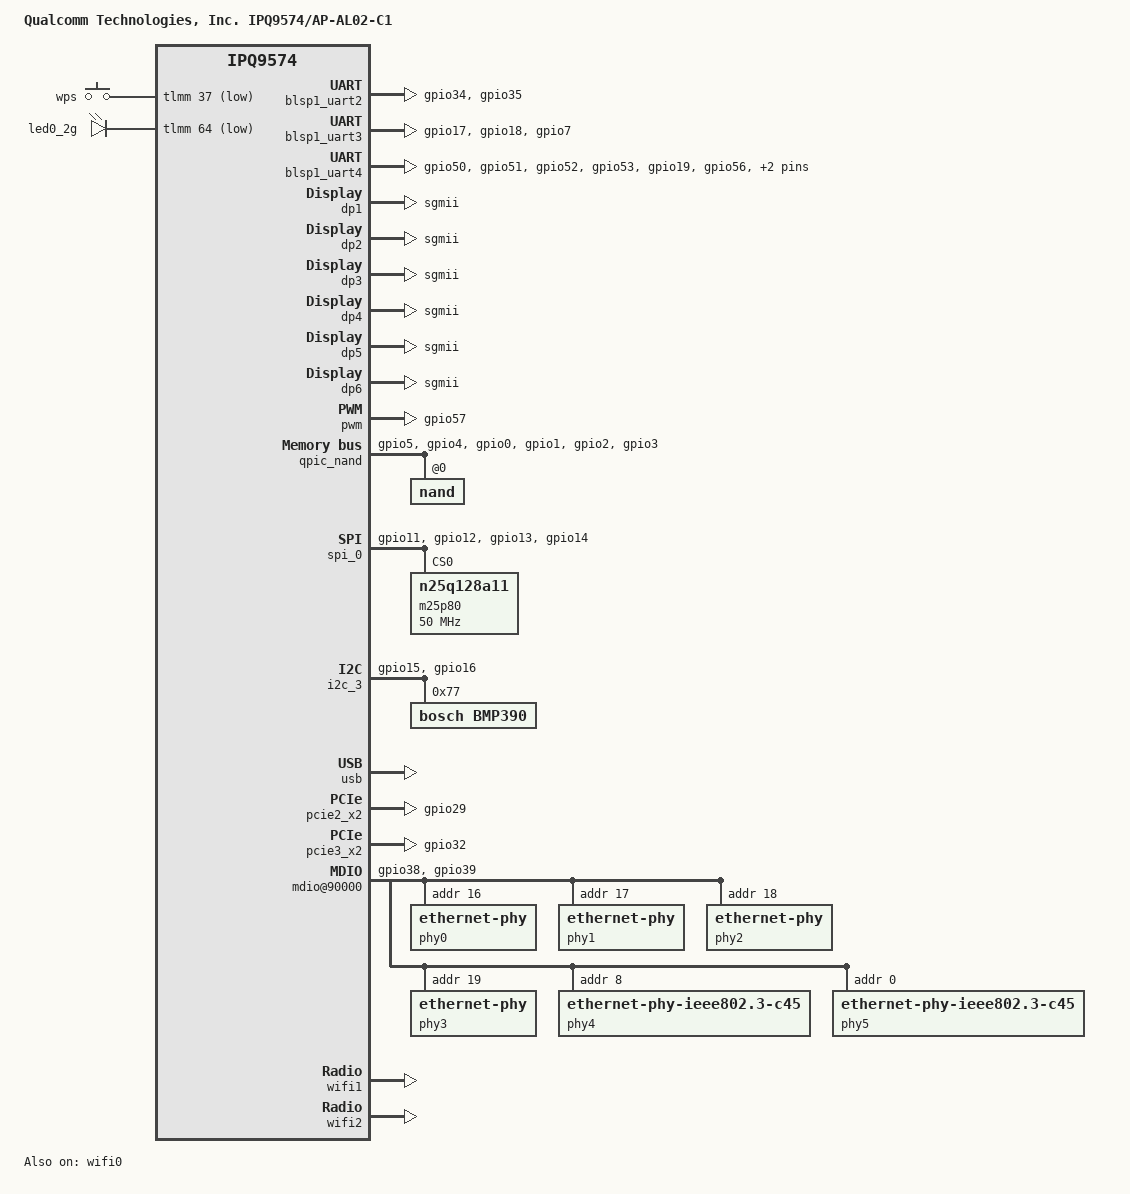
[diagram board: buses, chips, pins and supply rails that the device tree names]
// SPDX-License-Identifier: (GPL-2.0+ OR BSD-3-Clause)
/*
 * IPQ9574 AL02-C1 board device tree source
 *
 * Copyright (c) 2020-2021 The Linux Foundation. All rights reserved.
 * Copyright (c) 2022 Qualcomm Innovation Center, Inc. All rights reserved.
 */

/dts-v1/;

#include "ipq9574.dtsi"
#ifdef __IPQ_MEM_PROFILE_512_MB__
#include "ipq9574-512MB-memory.dtsi"
#else
#include "ipq9574-default-memory.dtsi"
#endif
#include "ipq9574-cpu.dtsi"

/ {
	#address-cells = <0x2>;
	#size-cells = <0x2>;
	model = "Qualcomm Technologies, Inc. IPQ9574/AP-AL02-C1";
	compatible = "qcom,ipq9574-ap-al02-c1", "qcom,ipq9574-al02", "qcom,ipq9574";
	interrupt-parent = <&intc>;

	aliases {
		serial0 = &blsp1_uart2;
		serial1 = &blsp1_uart4;
		serial2 = &blsp1_uart3;
		ethernet0 = "/soc/dp1";
		ethernet1 = "/soc/dp2";
		ethernet2 = "/soc/dp3";
		ethernet3 = "/soc/dp4";
		ethernet4 = "/soc/dp5";
		ethernet5 = "/soc/dp6";
	};

	chosen {
		stdout-path = "serial0";
	};

	soc {
		pinctrl@1000000 {
			pci0_pin: pci0-pinmux {
				pins = "gpio23";
				function = "gpio";
				drive-strength = <8>;
				bias-pull-up;
				output-low;
			};

			pci1_pin: pci1-pinmux {
				pins = "gpio26";
				function = "gpio";
				drive-strength = <8>;
				bias-pull-down;
				output-low;
			};

			pci2_pin: pci2-pinmux {
				pins = "gpio29";
				function = "gpio";
				drive-strength = <8>;
				bias-pull-down;
				output-low;
			};

			pci3_pin: pci3-pinmux {
				pins = "gpio32";
				function = "gpio";
				drive-strength = <8>;
				bias-pull-up;
				output-low;
			};

			pcie3_sdx_pins: pcie3_sdx_pinmux {
				ap2mdm_err_ftl {
					pins = "gpio44";
					function = "gpio";
					drive-strength = <8>;
					bias-pull-down;
				};

				mdm2ap_e911_status {
					pins = "gpio43";
					drive-strength = <8>;
					bias-pull-down;
				};

			};

			pcie3_wake_pins: pcie3_wake_gpio {
				pins = "gpio33";
				function = "pcie3_wake";
				drive-strength = <8>;
				bias-pull-up;
			};

			blsp1_uart2_pins: blsp1_uart2_pinmux {
				pins = "gpio34", "gpio35";
				function = "blsp2_uart";
				drive-strength = <8>;
				bias-disable;
			};

			gps_pins: gps_pins {
				blsp3_uart_pinmux {
					pins = "gpio17", "gpio18";
					function = "blsp3_uart";
					drive-strength = <8>;
					bias-disable;
				};

				gps_on_off {
					pins = "gpio7";
					function = "gpio";
					drive-strength = <8>;
					bias-pull-down;
				};
			};

			leds_pins: leds_pinmux {
				led0_2g {
					pins = "gpio64";
					function = "gpio";
					drive-strength = <8>;
					bias-pull-up;
				};
			};

			pwm_pins: pwm_pinmux {
			       mux_1 {
					pins = "gpio57";
					function = "pwm03";
					drive-strength = <8>;
				};
			};

			qspi_nand_pins: qspi_nand_pins {
				qspi_clock {
					pins = "gpio5";
					function = "qspi_clk";
					drive-strength = <8>;
					bias-disable;
				};

				qspi_cs {
					pins = "gpio4";
					function = "qspi_cs";
					drive-strength = <8>;
					bias-disable;
				};

				qspi_data {
					pins = "gpio0", "gpio1", "gpio2", "gpio3";
					function = "qspi_data";
					drive-strength = <8>;
					bias-disable;
				};
			};

			spi_0_pins: spi-0-pins {
				pins = "gpio11", "gpio12", "gpio13", "gpio14";
				function = "blsp0_spi";
				drive-strength = <8>;
				bias-disable;
			};

			spi_1_pins: spi-1-pins {
				pins = "gpio61", "gpio62", "gpio63", "gpio64";
				function = "blsp1_spi";
				drive-strength = <8>;
				bias-pull-down;
			};

			i2c_3_pins: i2c-3-pins {
				pins = "gpio15", "gpio16";
				function = "blsp3_i2c";
				drive-strength = <8>;
				bias-disable;
			};

			mdio_pins: mdio_pinmux {
				mux_0 {
					pins = "gpio38";
					function = "mdc";
					drive-strength = <8>;
					bias-disable;
				};
				mux_1 {
					pins = "gpio39";
					function = "mdio";
					drive-strength = <8>;
					bias-pull-up;
				};
			};

			audio_pins_pri: audio_pinmux_pri {
				mux_1 {
					pins = "gpio41";
					function = "audio_pri";
					drive-strength = <8>;
					bias-pull-down;
				};

				mux_2 {
					pins = "gpio40";
					function = "audio_pri";
					drive-strength = <8>;
					bias-pull-down;
				};

				mux_3 {
					pins = "gpio42";
					function = "audio_pri";
					drive-strength = <8>;
					bias-pull-down;
				};

				mux_4 {
					pins = "gpio43";
					function = "audio_pri";
					drive-strength = <16>;
					bias-pull-down;
				};
			};

			audio_pins_sec: audio_pinmux_sec {
				mux_1 {
					pins = "gpio47";
					function = "audio_sec";
					drive-strength = <16>;
					bias-pull-down;
				};

				mux_2 {
					pins = "gpio46";
					function = "audio_sec";
					drive-strength = <16>;
					bias-pull-down;
				};

				mux_3 {
					pins = "gpio45";
					function = "audio_sec";
					drive-strength = <16>;
					bias-pull-down;
				};

				mux_4 {
					pins = "gpio44";
					function = "audio_sec";
					drive-strength = <16>;
					bias-pull-down;
				};
			};

			button_pins: button_pins {
				wps_button {
					pins = "gpio37";
					function = "gpio";
					drive-strength = <8>;
					bias-pull-up;
				};
			};

			QCC710_pins: QCC710_pins {
				blsp1_uart4_pinmux {
					pins = "gpio50", "gpio51", "gpio52", "gpio53";
					function = "blsp4_uart";
					drive-strength = <8>;
					bias-disable;
				};
				QCC710_reset {
					pins = "gpio19";
					function = "gpio";
					drive-strength = <8>;
					bias-pull-down;
				};
			};

			pta_QCC710: pta_QCC710 {
				pta1_0 {
					pins = "gpio56";
					function = "pta1_0";
					drive-strength = <8>;
					bias-disable;
				};
				pta1_1 {
					pins = "gpio54";
					function = "pta1_1";
					drive-strength = <8>;
					bias-disable;
				};
				pta1_2 {
					pins = "gpio55";
					function = "pta1_2";
					drive-strength = <8>;
					bias-disable;
				};
			};
		};

		blsp1_uart2: serial@78b1000 {
			pinctrl-0 = <&blsp1_uart2_pins>;
			pinctrl-names = "default";
			status = "ok";
		};

		blsp1_uart3: serial@78b2000 {
			pinctrl-0 = <&gps_pins>;
			pinctrl-names = "default";
			status = "ok";
		};

		blsp1_uart4: serial@78b3000 {
			pinctrl-0 = <&QCC710_pins &pta_QCC710>;
			pinctrl-names = "default";
			status = "ok";
		};

		pcm: pcm@0xA3C0000{
			pinctrl-0 = <&audio_pins_pri>;
			pinctrl-1 = <&audio_pins_sec>;
			pinctrl-names = "primary",
					 "secondary";
			status = "disabled";
		};

		gpio_keys {
			compatible = "gpio-keys";
			pinctrl-0 = <&button_pins>;
			pinctrl-names = "default";
			status = "ok";

			button@1 {
				label = "wps";
				linux,code = <KEY_WPS_BUTTON>;
				gpios = <&tlmm 37 GPIO_ACTIVE_LOW>;
				linux,input-type = <1>;
				debounce-interval = <60>;
			};
		};

		dp1 {
			device_type = "network";
			compatible = "qcom,nss-dp";
			qcom,id = <1>;
			reg = <0x3a001000 0x200>;
			qcom,mactype = <0>;
			qcom,link-poll = <1>;
			local-mac-address = [000000000000];
			qcom,phy-mdio-addr = <16>;
			phy-mode = "sgmii";
		};

		dp2 {
			device_type = "network";
			compatible = "qcom,nss-dp";
			qcom,id = <2>;
			reg = <0x3a001200 0x200>;
			qcom,mactype = <0>;
			qcom,link-poll = <1>;
			local-mac-address = [000000000000];
			qcom,phy-mdio-addr = <17>;
			phy-mode = "sgmii";
		};

		dp3 {
			device_type = "network";
			compatible = "qcom,nss-dp";
			qcom,id = <3>;
			reg = <0x3a001400 0x200>;
			qcom,mactype = <0>;
			qcom,link-poll = <1>;
			local-mac-address = [000000000000];
			qcom,phy-mdio-addr = <18>;
			phy-mode = "sgmii";
		};

		dp4 {
			device_type = "network";
			compatible = "qcom,nss-dp";
			qcom,id = <4>;
			reg = <0x3a001600 0x200>;
			qcom,mactype = <0>;
			qcom,link-poll = <1>;
			local-mac-address = [000000000000];
			qcom,phy-mdio-addr = <19>;
			phy-mode = "sgmii";
		};

		dp5 {
			device_type = "network";
			compatible = "qcom,nss-dp";
			qcom,id = <5>;
			reg = <0x3a510000 0x4000>;
			qcom,mactype = <1>;
			qcom,link-poll = <1>;
			local-mac-address = [000000000000];
			qcom,phy-mdio-addr = <8>;
			phy-mode = "sgmii";
		};

		dp6 {
			device_type = "network";
			compatible = "qcom,nss-dp";
			qcom,id = <6>;
			reg = <0x3a514000 0x4000>;
			qcom,mactype = <1>;
			qcom,link-poll = <1>;
			local-mac-address = [000000000000];
			qcom,phy-mdio-addr = <0>;
			phy-mode = "sgmii";
		};

		qpic_bam: dma@7984000 {
			status = "ok";
		};

		pwm: pwm {
			pwms = <&pwm>;
			pinctrl-0 = <&pwm_pins>;
			pinctrl-names = "default";
			used-pwm-indices = <1>, <0>, <0>, <0>;
			status = "ok";
		};

		qpic_nand: nand@79b0000 {
			status = "ok";
			pinctrl-0 = <&qspi_nand_pins>;
			pinctrl-names = "default";
			qcom,io_macro_max_clk = <320000000>;
			qcom,io_macro_clk_rates = <24000000 100000000 200000000 \
						  320000000>;
			nand@0 {
				reg = <0>;
				#address-cells = <1>;
				#size-cells = <1>;

				nand-ecc-strength = <4>;
				nand-ecc-step-size = <512>;
				nand-bus-width = <8>;
			};
		};

		spi_0: spi@78b5000 { /* BLSP1 QUP0 */
			status = "ok";
			pinctrl-0 = <&spi_0_pins>;
			pinctrl-names = "default";
			cs-select = <0>;

			m25p80@0 {
				compatible = "n25q128a11";
				#address-cells = <1>;
				#size-cells = <1>;
				reg = <0>;
				spi-max-frequency = <50000000>;
			};
		};

		spi_1: spi@78b6000 {
			status = "disabled";
			pinctrl-0 = <&spi_1_pins>;
			pinctrl-names = "default";
			cs-select = <0>;
		};

		eud: qcom,msm-eud {
			status = "ok";
		};

		i2c_3: i2c@78b8000 {
			status = "ok";
			pinctrl-0 = <&i2c_3_pins>;
			pinctrl-names = "default";

			bmp390@77 {
				compatible = "bosch,bmp390";
				reg = <0x77>;
			};

		};

		usb: usb3@8A00000 {
			status = "ok";
		};

		qusb_phy_0: qusb@7B000 {
			status = "ok";
		};

		ssphy_0: ssphy@7D000 {
			status = "ok";
		};

		leds {
			compatible = "gpio-leds";
			pinctrl-0 = <&leds_pins>;
			pinctrl-names = "default";
			led@64 {
				label = "led0_2g";
				gpios = <&tlmm 64 GPIO_ACTIVE_LOW>;
				linux,default-trigger = "led_2g";
				default-state = "off";
			};
		};

		pcie0_x1: pci@28000000 {
			pinctrl-0 = <&pci0_pin>;
			pinctrl-names = "default";
			perst-gpio = <&tlmm 23 1>;
			status = "disabled";
			pcie0_rp {
				reg = <0 0 0 0 0>;
			};
		};

		pcie0_phy: phy@84000 {
			status = "disabled";
		};

		pcie1_x1: pci@10000000 {
			pinctrl-0 = <&pci1_pin>;
			pinctrl-names = "default";
			perst-gpio = <&tlmm 26 1>;
			status = "disabled";
			pcie1_rp {
				reg = <0 0 0 0 0>;
			};
		};

		pcie1_phy: phy@fc000 {
			status = "disabled";
		};

		pcie2_x2: pci@20000000 {
			pinctrl-0 = <&pci2_pin>;
			pinctrl-names = "default";
			perst-gpio = <&tlmm 29 1>;
			status = "ok";
			pcie2_rp {
				reg = <0 0 0 0 0>;

				wifi@2 {
					reg = <0 0 0 0 0>;
					qrtr_instance_id = <0x20>;
#if defined(__CNSS2__)
					memory-region = <0>,<&mhi_region0>;
#else
					memory-region = <&qcn9000_pcie0>;
					qcom,board_id = <0xa4>;
#endif
					status = "ok";
				};
			};
		};

		pcie2_phy: phy@8c000 {
			status = "ok";
		};

		pcie3_x2: pci@18000000 {
			pinctrl-0 = <&pci3_pin>;
			pinctrl-names = "default";
			perst-gpio = <&tlmm 32 1>;
			status = "ok";
			pcie3_rp {
				reg = <0 0 0 0 0>;

				wifi@3 {
					reg = <0 0 0 0 0>;
					qrtr_instance_id = <0x21>;
#if defined(__CNSS2__)
					memory-region = <0>,<&mhi_region1>;
#else
					memory-region = <&qcn9000_pcie1>;
					qcom,board_id = <0xa3>;
#endif
					status = "ok";
				};
			};
		};

		pcie3_phy: phy@f4000 {
			status = "ok";
		};

		mdio@90000 {
			status = "ok";
			pinctrl-0 = <&mdio_pins>;
			pinctrl-names = "default";
			/*gpio60 for malibu reset, gpio36 for both aqr reset reserved */
			phy-reset-gpio = <&tlmm 60 0>;
			phy0: ethernet-phy@0 {
				reg = <16>;
			};
			phy1: ethernet-phy@1 {
				reg = <17>;
			};
			phy2: ethernet-phy@2 {
				reg = <18>;
			};
			phy3: ethernet-phy@3 {
				reg = <19>;
			};
			phy4: ethernet-phy@4 {
				compatible ="ethernet-phy-ieee802.3-c45";
				reg = <8>;
			};
			phy5: ethernet-phy@5 {
				compatible ="ethernet-phy-ieee802.3-c45";
				reg = <0>;
			};
		};

		ess-instance {
			num_devices = <0x1>;
			ess-switch@3a000000 {
				switch_cpu_bmp = <0x1>;  /* cpu port bitmap */
				switch_lan_bmp = <0x3e>; /* lan port bitmap */
				switch_wan_bmp = <0x40>; /* wan port bitmap */
				switch_mac_mode = <0x0>; /* mac mode for uniphy instance0*/
				switch_mac_mode1 = <0xd>; /* mac mode for uniphy instance1*/
				switch_mac_mode2 = <0xd>; /* mac mode for uniphy instance2*/
				bm_tick_mode = <0>; /* bm tick mode */
				tm_tick_mode = <0>; /* tm tick mode */

				qcom,port_phyinfo {
					port@0 {
						port_id = <1>;
						phy_address = <16>;
					};
					port@1 {
						port_id = <2>;
						phy_address = <17>;
					};
					port@2 {
						port_id = <3>;
						phy_address = <18>;
					};
					port@3 {
						port_id = <4>;
						phy_address = <19>;
					};
					port@4 {
						port_id = <5>;
						phy_address = <8>;
						ethernet-phy-ieee802.3-c45;
					};
					port@5 {
						port_id = <6>;
						phy_address = <0>;
						ethernet-phy-ieee802.3-c45;
					};
				};

			};
		};

		/* EDMA host driver configuration for the board */
		edma@3ab00000 {
			qcom,txdesc-ring-start = <4>;		/* Tx desc ring start ID */
			qcom,txdesc-rings = <28>;		/* Total number of Tx desc rings to be provisioned */
			qcom,txcmpl-ring-start = <4>;		/* Tx complete ring start ID */
			qcom,txcmpl-rings = <28>;		/* Total number of Tx complete rings to be provisioned */
			qcom,rxfill-ring-start = <4>;		/* Rx fill ring start ID */
			qcom,rxfill-rings = <4>;		/* Total number of Rx fill rings to be provisioned */
			qcom,rxdesc-ring-start = <20>;		/* Rx desc ring start ID */
			qcom,rxdesc-rings = <4>;		/* Total number of Rx desc rings to be provisioned */
			qcom,rx-page-mode = <0>;		/* Rx fill ring page mode */
			qcom,tx-map-priority-level = <1>;	/* Tx priority level per port */
			qcom,rx-map-priority-level = <1>;	/* Rx priority level per core */
			qcom,ppeds-num = <0>;			/* Number of PPEDS nodes */
			qcom,txdesc-map = <8 9 10 11>,		/* Port0 per-core Tx ring map */
					<12 13 14 15>,		/* Port1 per-core Tx ring map */
					<16 17 18 19>,		/* Port2 per-core Tx ring map */
					<20 21 22 23>,		/* Port3 per-core Tx ring map */
					<24 25 26 27>,		/* Port4 per-core Tx ring map */
					<28 29 30 31>,		/* Port5 per-core Tx ring map */
					<4 5 6 7>;		/* Used only for packets from VP */
			qcom,txdesc-fc-grp-map = <1 2 3 4 5 6>;	/* Per GMAC flow control group map */
			qcom,rxfill-map = <4 5 6 7>;		/* Per-core Rx fill ring map */
			qcom,rxdesc-map = <20 21 22 23>;	/* Per-core Rx desc ring map */
			qcom,txdesc_point_offload_ring = <0>;		/* Txdesc point offlaod ring */
			qcom,txcmpl_point_offload_ring = <0>;		/* Txcmpl point offlaod ring */
			qcom,rxfill_point_offload_ring = <0>;		/* Rxfill point offlaod ring */
			qcom,rxdesc_point_offload_ring = <0>;		/* Rxdesc point offlaod ring */
			qcom,rx-queue-start = <0>;		/* Rx queue start */
			qcom,rx-ring-queue-map = <0 8 16 24>,	/* Priority 0 queues per-core Rx ring map */
					<1 9 17 25>,		/* Priority 1 queues per-core Rx ring map */
					<2 10 18 26>,		/* Priority 2 queues per-core Rx ring map */
					<3 11 19 27>,		/* Priority 3 queues per-core Rx ring map */
					<4 12 20 28>,		/* Priority 4 queues per-core Rx ring map */
					<5 13 21 29>,		/* Priority 5 queues per-core Rx ring map */
					<6 14 22 30>,		/* Priority 6 queues per-core Rx ring map */
					<7 15 23 31>;		/* Priority 7 queues per-core Rx ring map */
			qcom,vp-id = <8>;			/* Virtual port dummy MAC Id */
			interrupts = <0 367 4>,			/* Tx complete ring id #4 IRQ info */
				   <0 368 4>,			/* Tx complete ring id #5 IRQ info */
				   <0 369 4>,			/* Tx complete ring id #6 IRQ info */
				   <0 370 4>,			/* Tx complete ring id #7 IRQ info */
				   <0 371 4>,			/* Tx complete ring id #8 IRQ info */
				   <0 372 4>,			/* Tx complete ring id #9 IRQ info */
				   <0 373 4>,			/* Tx complete ring id #10 IRQ info */
				   <0 374 4>,			/* Tx complete ring id #11 IRQ info */
				   <0 375 4>,			/* Tx complete ring id #12 IRQ info */
				   <0 376 4>,			/* Tx complete ring id #13 IRQ info */
				   <0 377 4>,			/* Tx complete ring id #14 IRQ info */
				   <0 378 4>,			/* Tx complete ring id #15 IRQ info */
				   <0 379 4>,			/* Tx complete ring id #16 IRQ info */
				   <0 380 4>,			/* Tx complete ring id #17 IRQ info */
				   <0 381 4>,			/* Tx complete ring id #18 IRQ info */
				   <0 382 4>,			/* Tx complete ring id #19 IRQ info */
				   <0 383 4>,			/* Tx complete ring id #20 IRQ info */
				   <0 384 4>,			/* Tx complete ring id #21 IRQ info */
				   <0 509 4>,			/* Tx complete ring id #22 IRQ info */
				   <0 508 4>,			/* Tx complete ring id #23 IRQ info */
				   <0 507 4>,			/* Tx complete ring id #24 IRQ info */
				   <0 506 4>,			/* Tx complete ring id #25 IRQ info */
				   <0 505 4>,			/* Tx complete ring id #26 IRQ info */
				   <0 504 4>,			/* Tx complete ring id #27 IRQ info */
				   <0 503 4>,			/* Tx complete ring id #28 IRQ info */
				   <0 502 4>,			/* Tx complete ring id #29 IRQ info */
				   <0 501 4>,			/* Tx complete ring id #30 IRQ info */
				   <0 500 4>,			/* Tx complete ring id #31 IRQ info */
				   <0 351 4>,			/* Rx desc ring id #20 IRQ info */
				   <0 352 4>,			/* Rx desc ring id #21 IRQ info */
				   <0 353 4>,			/* Rx desc ring id #22 IRQ info */
				   <0 354 4>,			/* Rx desc ring id #23 IRQ info */
				   <0 499 4>;			/* Misc error IRQ info */
		};

	};
};

&license_manager {
	status = "disabled";
};

&wifi0 {
       // 1 below indicates GPIO is active low
       led-gpio = <&tlmm 64 1>;
       qcom,board_id = <0x20>;
       status = "ok";
};

&wifi1 {
#if !defined(__IPQ_MEM_PROFILE_256_MB__)
#ifdef __IPQ_MEM_PROFILE_512_MB__
	/* QCN9000 tgt-mem-mode=1 layout - 26MB
	 * +=========+==============+=========+
	 * |  Region | Start Offset |   Size  |
	 * +---------+--------------+---------+
	 * | HREMOTE |  0x4CF00000  |   12MB  |
	 * +---------+--------------+---------+
	 * | M3 Dump |  0x4DB00000  |   1MB   |
	 * +---------+--------------+---------+
	 * |   ETR   |  0x4DC00000  |   1MB   |
	 * +---------+--------------+---------+
	 * |  Caldb  |  0x4DD00000  |   8MB   |
	 * +---------+--------------+---------+
	 * | Pageable|  0x4E500000  |   4MB   |
	 * +==================================+
	 */
	base-addr = <0x4CF00000>;
	m3-dump-addr = <0x4DB00000>;
	etr-addr = <0x4DC00000>;
	caldb-addr = <0x4DD00000>;
	pageable-addr = <0x4E500000>;
	hremote-size = <0xC00000>;
	pageable-size = <0x400000>;
	tgt-mem-mode = <0x1>;
#else
	/* QCN9000 tgt-mem-mode=0 layout - 53MB
	 * +=========+==============+=========+
	 * |  Region | Start Offset |   Size  |
	 * +---------+--------------+---------+
	 * | HREMOTE |  0x4DD00000  |   35MB  |
	 * +---------+--------------+---------+
	 * | M3 Dump |  0x50000000  |   1MB   |
	 * +---------+--------------+---------+
	 * |   ETR   |  0x50100000  |   1MB   |
	 * +---------+--------------+---------+
	 * |  Caldb  |  0x50200000  |   8MB   |
	 * +---------+--------------+---------+
	 * | Pageable|  0x50A00000  |   8MB   |
	 * +==================================+
	 */
	base-addr = <0x4DD00000>;
	m3-dump-addr = <0x50000000>;
	etr-addr = <0x50100000>;
	caldb-addr = <0x50200000>;
	pageable-addr = <0x50A00000>;
	hremote-size = <0x2300000>;
	pageable-size = <0x800000>;
	tgt-mem-mode = <0x0>;
#endif
	hremote_node = <&qcn9000_pcie0>;
	caldb-size = <0x800000>;
	board_id = <0xa4>;
	status = "ok";
#endif
};

&wifi2 {
#if !defined(__IPQ_MEM_PROFILE_256_MB__)
#ifdef __IPQ_MEM_PROFILE_512_MB__
	/* QCN9000 tgt-mem-mode=1 layout - 26MB
	 * +=========+==============+=========+
	 * |  Region | Start Offset |   Size  |
	 * +---------+--------------+---------+
	 * | HREMOTE |  0x4E900000  |   12MB  |
	 * +---------+--------------+---------+
	 * | M3 Dump |  0x4F500000  |   1MB   |
	 * +---------+--------------+---------+
	 * |   ETR   |  0x4F600000  |   1MB   |
	 * +---------+--------------+---------+
	 * |  Caldb  |  0x4F700000  |   8MB   |
	 * +---------+--------------+---------+
	 * | Pageable|  0x4FF00000  |   4MB   |
	 * +==================================+
	 */
	base-addr = <0x4E900000>;
	m3-dump-addr = <0x4F500000>;
	etr-addr = <0x4F600000>;
	caldb-addr = <0x4F700000>;
	pageable-addr = <0x4FF00000>;
	hremote-size = <0xC00000>;
	pageable-size = <0x400000>;
	tgt-mem-mode = <0x1>;
#else
	/* QCN9000 tgt-mem-mode=0 layout - 53MB
	 * +=========+==============+=========+
	 * |  Region | Start Offset |   Size  |
	 * +---------+--------------+---------+
	 * | HREMOTE |  0x51200000  |   35MB  |
	 * +---------+--------------+---------+
	 * | M3 Dump |  0x53500000  |   1MB   |
	 * +---------+--------------+---------+
	 * |   ETR   |  0x53600000  |   1MB   |
	 * +---------+--------------+---------+
	 * |  Caldb  |  0x53700000  |   8MB   |
	 * +---------+--------------+---------+
	 * | Pageable|  0x53F00000  |   8MB   |
	 * +==================================+
	 */
	base-addr = <0x51200000>;
	m3-dump-addr = <0x53500000>;
	etr-addr = <0x53600000>;
	caldb-addr = <0x53700000>;
	pageable-addr = <0x53F00000>;
	hremote-size = <0x2300000>;
	pageable-size = <0x800000>;
	tgt-mem-mode = <0x0>;
#endif
	hremote_node = <&qcn9000_pcie1>;
	caldb-size = <0x800000>;
	board_id = <0xa3>;
	status = "ok";
#endif
};
